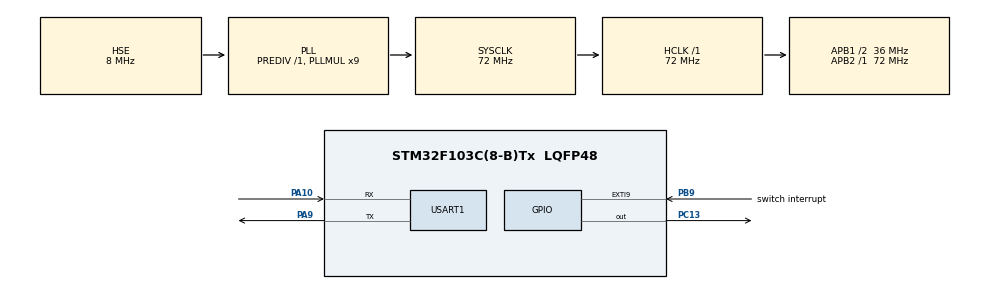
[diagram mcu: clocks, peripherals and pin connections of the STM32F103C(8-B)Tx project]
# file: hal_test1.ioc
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Mcu.Family=STM32F1
Mcu.Name=STM32F103C(8-B)Tx
Mcu.Package=LQFP48
NVIC.EXTI9_5_IRQn=true\:0\:0\:false\:false\:true\:true\:true\:true
NVIC.PriorityGroup=NVIC_PRIORITYGROUP_4
NVIC.USART1_IRQn=true\:0\:0\:false\:false\:true\:true\:true\:true
PA10.Mode=Asynchronous
PA10.Signal=USART1_RX
PA13.Mode=Serial_Wire
PA13.Signal=SYS_JTMS-SWDIO
PA14.Mode=Serial_Wire
PA14.Signal=SYS_JTCK-SWCLK
PA9.Mode=Asynchronous
PA9.Signal=USART1_TX
PB9.GPIO_Label=switch interrupt
PB9.GPIO_PuPd=GPIO_NOPULL
PB9.Signal=GPXTI9
PC13-TAMPER-RTC.Signal=GPIO_Output
PD0-OSC_IN.Mode=HSE-External-Oscillator
PD0-OSC_IN.Signal=RCC_OSC_IN
PD1-OSC_OUT.Mode=HSE-External-Oscillator
PD1-OSC_OUT.Signal=RCC_OSC_OUT
ProjectManager.HeapSize=0xC00
ProjectManager.StackSize=0x400
ProjectManager.TargetToolchain=MDK-ARM V5.32
RCC.AHBFreq_Value=72000000
RCC.APB1CLKDivider=RCC_HCLK_DIV2
RCC.APB1Freq_Value=36000000
RCC.APB1TimFreq_Value=72000000
RCC.APB2Freq_Value=72000000
RCC.APB2TimFreq_Value=72000000
RCC.HCLKFreq_Value=72000000
RCC.PLLMUL=RCC_PLL_MUL9
RCC.PLLSourceVirtual=RCC_PLLSOURCE_HSE
RCC.SYSCLKFreq_VALUE=72000000
RCC.SYSCLKSource=RCC_SYSCLKSOURCE_PLLCLK
RCC.USBFreq_Value=72000000
USART1.VirtualMode=VM_ASYNC
board=custom

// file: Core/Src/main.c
/* USER CODE BEGIN Header */
/**
  ******************************************************************************
  * @file           : main.c
  * @brief          : Main program body
  ******************************************************************************
  * @attention
  *
  * Copyright (c) 2024 STMicroelectronics.
  * All rights reserved.
  *
  * This software is licensed under terms that can be found in the LICENSE file
  * in the root directory of this software component.
  * If no LICENSE file comes with this software, it is provided AS-IS.
  *
  ******************************************************************************
  */
/* USER CODE END Header */
#include "main.h"
#include "usart.h"
#include "gpio.h"

/* USER CODE BEGIN Includes */
#include <string.h>
#include <thread.h>
#include "sys_time.h"
#include "cpu.h"
#include "queue.h"
#define RXBUFFERSIZE  256     //最大接收字节数
#define  LED_ON  HAL_GPIO_WritePin(GPIOC, GPIO_PIN_13, GPIO_PIN_RESET)
#define  LED_OFF  HAL_GPIO_WritePin(GPIOC, GPIO_PIN_13, GPIO_PIN_SET)
char RxBuffer[RXBUFFERSIZE];   //接收数据
uint8_t aRxBuffer;			//接收中断缓冲
uint8_t Uart1_Rx_Cnt = 0;		//接收缓冲计数

/* USER CODE END Includes */

/* USER CODE BEGIN PTD */
extern TaskControlBlock *currentTask;
extern TaskControlBlock *nextTask;
extern TaskControlBlock *taskLists[MAX_PRIORITY];
extern TaskControlBlock *delayList;
TaskHandle_t task_1;
TaskHandle_t task_2;
TaskHandle_t task_3;

volatile int num_1=0;
volatile int num_2=0;
volatile int num_3=0;
volatile int a=0;  //测试写队列
Queue_t * x1_Queue;
typedef struct my_rot_Queue
{
	int i;
}my_rots_Queue;

BaseType_t xReturn;

void task1Entry(void *param){
			my_rots_Queue *test_1;
			// 分配内存空间
    test_1 = (my_rots_Queue *)malloc(sizeof(my_rots_Queue));
    if (test_1 == NULL) {
        // 检查内存分配是否成功
        printf("Memory allocation failed!\n");
//        return 0;
    }
	for(;;){
		printf("this is task_1\r\n");
		Tsakdelay(100);
		xQueueGenericReceive(x1_Queue,(void *)test_1,portMAX_DELAY);
//		printf("queue is %d\r\n",test_1->i);
		num_1++;
	}
};

void task2Entry(void *param){
		my_rots_Queue *test_2;
			// 分配内存空间
    test_2 = (my_rots_Queue *)malloc(sizeof(my_rots_Queue));
    if (test_2 == NULL) {
        // 检查内存分配是否成功
        printf("Memory allocation failed!\n");
//        return 0;
    }
		for(;;){
			xReturn=xQueueGenericSend(x1_Queue,(void *)test_2,portMAX_DELAY);

			printf("this is task_2\r\n");
			Tsakdelay(1000);

			test_2->i = num_2++;

		}
};

void task3Entry(void *param){
	my_rots_Queue *test_3;

		 test_3 = (my_rots_Queue *)malloc(sizeof(my_rots_Queue));
    if (test_3 == NULL) {
        // 检查内存分配是否成功
        printf("Memory allocation failed!\n");
//        return 0;
    }
	for(;;){
		printf("this is task_3\r\n");
		Tsakdelay(100);
		xQueueGenericReceive(x1_Queue,(void *)test_3,portMAX_DELAY);
		num_3++;

	}
};

void task4Entry(void *param){

	for(;;){
//			Tsakdelay(0xfff);
		HAL_Delay(0xfff);
			printf("num_1 is %d,num_2 is %d,num_3 is %d\r\n",num_1,num_2,num_3);
//			Tsakdelay(0xfff);
			vQueuePrint(x1_Queue);

	}
};

/* USER CODE END PTD */

/* USER CODE BEGIN PD */
void HAL_SYSTICK_Callback(void)
{
	 every_delay();
	 triggerPendSV();

}

/* USER CODE END PD */

void SystemClock_Config(void);

/* USER CODE BEGIN 0 */
void HAL_UART_RxCpltCallback(UART_HandleTypeDef *huart);
/* USER CODE END 0 */

int main(void)
{

  /* MCU Configuration--------------------------------------------------------*/

  /* Reset of all peripherals, Initializes the Flash interface and the Systick. */
  HAL_Init();

  /* Configure the system clock */
  SystemClock_Config();

  /* Initialize all configured peripherals */
  MX_GPIO_Init();
  MX_USART1_UART_Init();
  /* USER CODE BEGIN 2 */
	HAL_UART_Receive_IT(&huart1, (uint8_t *)&aRxBuffer, 1);

  createTask(task1Entry,1,1,0,128,&task_1);
	createTask(task2Entry,1,0,0,128,&task_2);
	createTask(task3Entry,1,0,0,128,&task_3);
	createTask(task4Entry,1,0,0,128,NULL);

	x1_Queue=xQueueCreate(1,sizeof(my_rots_Queue));
	if(x1_Queue == NULL)
	{
		printf("queue is found fail!\r\n");
	}

	os_schedule_start();

  /* USER CODE END 2 */

  /* Infinite loop */

}

void SystemClock_Config(void)
{
  RCC_OscInitTypeDef RCC_OscInitStruct = {0};
  RCC_ClkInitTypeDef RCC_ClkInitStruct = {0};

  /** Initializes the RCC Oscillators according to the specified parameters
  * in the RCC_OscInitTypeDef structure.
  */
  RCC_OscInitStruct.OscillatorType = RCC_OSCILLATORTYPE_HSE;
  RCC_OscInitStruct.HSEState = RCC_HSE_ON;
  RCC_OscInitStruct.HSEPredivValue = RCC_HSE_PREDIV_DIV1;
  RCC_OscInitStruct.HSIState = RCC_HSI_ON;
  RCC_OscInitStruct.PLL.PLLState = RCC_PLL_ON;
  RCC_OscInitStruct.PLL.PLLSource = RCC_PLLSOURCE_HSE;
  RCC_OscInitStruct.PLL.PLLMUL = RCC_PLL_MUL9;
  if (HAL_RCC_OscConfig(&RCC_OscInitStruct) != HAL_OK)
  {
    Error_Handler();
  }

  /** Initializes the CPU, AHB and APB buses clocks
  */
  RCC_ClkInitStruct.ClockType = RCC_CLOCKTYPE_HCLK|RCC_CLOCKTYPE_SYSCLK
                              |RCC_CLOCKTYPE_PCLK1|RCC_CLOCKTYPE_PCLK2;
  RCC_ClkInitStruct.SYSCLKSource = RCC_SYSCLKSOURCE_PLLCLK;
  RCC_ClkInitStruct.AHBCLKDivider = RCC_SYSCLK_DIV1;
  RCC_ClkInitStruct.APB1CLKDivider = RCC_HCLK_DIV2;
  RCC_ClkInitStruct.APB2CLKDivider = RCC_HCLK_DIV1;

  if (HAL_RCC_ClockConfig(&RCC_ClkInitStruct, FLASH_LATENCY_2) != HAL_OK)
  {
    Error_Handler();
  }
}

/* USER CODE BEGIN 4 */

void HAL_UART_RxCpltCallback(UART_HandleTypeDef *huart)
{
  /* Prevent unused argument(s) compilation warning */
  UNUSED(huart);
  /* NOTE: This function Should not be modified, when the callback is needed,
           the HAL_UART_TxCpltCallback could be implemented in the user file
   */

	if(Uart1_Rx_Cnt >= 255)  //溢出判断
	{
		Uart1_Rx_Cnt = 0;
		memset(RxBuffer,0x00,sizeof(RxBuffer));
		HAL_UART_Transmit(&huart1, (uint8_t *)"数据溢出", 10,0xFFFF);

	}
	else
	{
		RxBuffer[Uart1_Rx_Cnt++] = aRxBuffer;   //接收数据转存

		if((RxBuffer[Uart1_Rx_Cnt-1] == 0x0A)&&(RxBuffer[Uart1_Rx_Cnt-2] == 0x0D)) //判断结束位
		{
			HAL_UART_Transmit(&huart1, (uint8_t *)&RxBuffer, Uart1_Rx_Cnt,0xFFFF); //将收到的信息发送出去
            while(HAL_UART_GetState(&huart1) == HAL_UART_STATE_BUSY_TX);//检测UART发送结束
			Uart1_Rx_Cnt = 0;
			memset(RxBuffer,0x00,sizeof(RxBuffer)); //清空数组
		}
	}

	HAL_UART_Receive_IT(&huart1, (uint8_t *)&aRxBuffer, 1);   //再开启接收中断
}

void HAL_GPIO_EXTI_Callback(uint16_t GPIO_Pin)
{
	if( GPIO_Pin == switch_interrupt_Pin)//判断外部中断源
	{
		HAL_GPIO_TogglePin(GPIOA, GPIO_PIN_5);//翻转PA5状态
	}
}

/* USER CODE END 4 */

void Error_Handler(void)
{
  __disable_irq();
  while (1)
  {
  }
}
